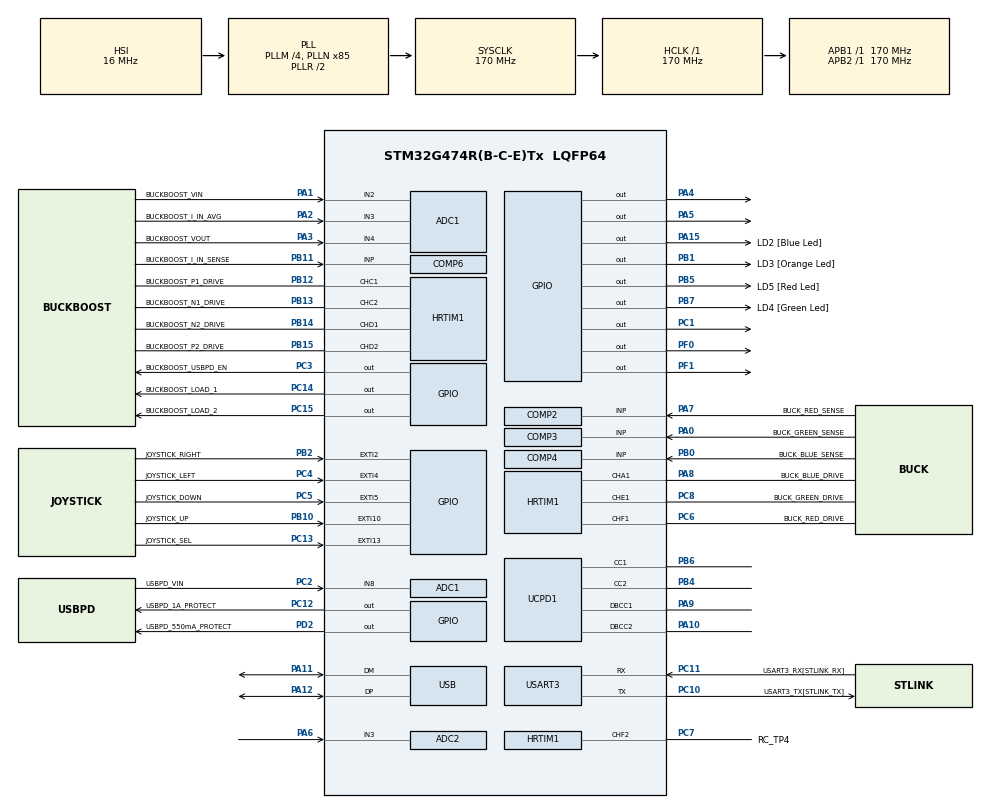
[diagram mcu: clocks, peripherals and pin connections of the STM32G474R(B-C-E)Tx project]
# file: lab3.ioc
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ADC1.Channel-0\#ChannelRegularConversion=ADC_CHANNEL_8
ADC1.NbrOfConversionFlag=1
ADC1.OffsetNumber-0\#ChannelRegularConversion=ADC_OFFSET_NONE
ADC1.Rank-0\#ChannelRegularConversion=1
ADC1.SamplingTime-0\#ChannelRegularConversion=ADC_SAMPLETIME_2CYCLES_5
ADC1.master=1
ADC2.Channel-0\#ChannelRegularConversion=ADC_CHANNEL_3
ADC2.NbrOfConversionFlag=1
ADC2.OffsetNumber-0\#ChannelRegularConversion=ADC_OFFSET_NONE
ADC2.Rank-0\#ChannelRegularConversion=1
ADC2.SamplingTime-0\#ChannelRegularConversion=ADC_SAMPLETIME_2CYCLES_5
DAC3.DAC_Channel-DAC_OUT2_Int=DAC_CHANNEL_2
Mcu.Family=STM32G4
Mcu.Name=STM32G474R(B-C-E)Tx
Mcu.Package=LQFP64
NVIC.ADC1_2_IRQn=true\:0\:0\:false\:false\:true\:true\:true\:true
NVIC.EXTI15_10_IRQn=true\:0\:0\:false\:false\:true\:true\:true\:true
NVIC.EXTI2_IRQn=true\:0\:0\:false\:false\:true\:true\:true\:true
NVIC.EXTI4_IRQn=true\:0\:0\:false\:false\:true\:true\:true\:true
NVIC.EXTI9_5_IRQn=true\:0\:0\:false\:false\:true\:true\:true\:true
NVIC.HRTIM1_Master_IRQn=true\:0\:0\:false\:false\:true\:true\:true\:true
NVIC.HRTIM1_TIMF_IRQn=true\:0\:0\:false\:false\:true\:true\:true\:true
NVIC.PriorityGroup=NVIC_PRIORITYGROUP_4
NVIC.USART3_IRQn=true\:0\:0\:false\:false\:true\:true\:true\:true
NVIC.USB_HP_IRQn=true\:0\:0\:false\:false\:true\:true\:true\:true
PA0.GPIO_Label=BUCK_GREEN_SENSE
PA0.Mode=INP
PA0.Signal=COMP3_INP
PA1.GPIO_Label=BUCKBOOST_VIN
PA1.Mode=IN2-Single-Ended
PA1.Signal=ADC1_IN2
PA10.Mode=EnableDeadBattery
PA10.Signal=UCPD1_DBCC2
PA11.Mode=Device
PA11.Signal=USB_DM
PA12.Mode=Device
PA12.Signal=USB_DP
PA13.Mode=Serial_Wire
PA13.Signal=SYS_JTMS-SWDIO
PA14.Mode=Serial_Wire
PA14.Signal=SYS_JTCK-SWCLK
PA15.GPIO_Label=LD2 [Blue Led]
PA15.Signal=GPIO_Output
PA2.GPIO_Label=BUCKBOOST_I_IN_AVG
PA2.Mode=IN3-Single-Ended
PA2.Signal=ADC1_IN3
PA3.GPIO_Label=BUCKBOOST_VOUT
PA3.Mode=IN4-Single-Ended
PA3.Signal=ADC1_IN4
PA4.Signal=GPIO_Output
PA5.Signal=GPIO_Output
PA6.Mode=IN3-Single-Ended
PA6.Signal=ADC2_IN3
PA7.GPIO_Label=BUCK_RED_SENSE
PA7.Mode=INP
PA7.Signal=COMP2_INP
PA8.GPIO_Label=BUCK_BLUE_DRIVE
PA8.Mode=Output_TA1
PA8.Signal=HRTIM1_CHA1
PA9.Mode=EnableDeadBattery
PA9.Signal=UCPD1_DBCC1
PB0.GPIO_Label=BUCK_BLUE_SENSE
PB0.Mode=INP
PB0.Signal=COMP4_INP
PB1.GPIO_Label=LD3 [Orange Led]
PB1.Signal=GPIO_Output
PB10.GPIO_Label=JOYSTICK_UP
PB10.GPIO_PuPd=GPIO_PULLUP
PB10.Signal=GPXTI10
PB11.GPIO_Label=BUCKBOOST_I_IN_SENSE
PB11.Mode=INP
PB11.Signal=COMP6_INP
PB12.GPIO_Label=BUCKBOOST_P1_DRIVE
PB12.Mode=Output_TC1TC2
PB12.Signal=HRTIM1_CHC1
PB13.GPIO_Label=BUCKBOOST_N1_DRIVE
PB13.Mode=Output_TC1TC2
PB13.Signal=HRTIM1_CHC2
PB14.GPIO_Label=BUCKBOOST_N2_DRIVE
PB14.Mode=Output_TD1TD2
PB14.Signal=HRTIM1_CHD1
PB15.GPIO_Label=BUCKBOOST_P2_DRIVE
PB15.Mode=Output_TD1TD2
PB15.Signal=HRTIM1_CHD2
PB2.GPIO_Label=JOYSTICK_RIGHT
PB2.GPIO_PuPd=GPIO_PULLUP
PB2.Signal=GPXTI2
PB3.Signal=SYS_JTDO-SWO
PB4.Mode=Sink_AllSignals
PB4.Signal=UCPD1_CC2
PB5.GPIO_Label=LD5 [Red Led]
PB5.Signal=GPIO_Output
PB6.Mode=Sink_AllSignals
PB6.Signal=UCPD1_CC1
PB7.GPIO_Label=LD4 [Green Led]
PB7.Signal=GPIO_Output
PC1.Signal=GPIO_Output
PC10.GPIO_Label=USART3_TX[STLINK_TX]
PC10.GPIO_Speed=GPIO_SPEED_FREQ_MEDIUM
PC10.Mode=Asynchronous
PC10.Signal=USART3_TX
PC11.GPIO_Label=USART3_RX[STLINK_RX]
PC11.GPIO_Speed=GPIO_SPEED_FREQ_MEDIUM
PC11.Mode=Asynchronous
PC11.Signal=USART3_RX
PC12.GPIO_Label=USBPD_1A_PROTECT
PC12.Signal=GPIO_Output
PC13.GPIO_Label=JOYSTICK_SEL
PC13.GPIO_PuPd=GPIO_PULLUP
PC13.Signal=GPXTI13
PC14-OSC32_IN.GPIO_Label=BUCKBOOST_LOAD_1
PC14-OSC32_IN.Signal=GPIO_Output
PC15-OSC32_OUT.GPIO_Label=BUCKBOOST_LOAD_2
PC15-OSC32_OUT.Signal=GPIO_Output
PC2.GPIO_Label=USBPD_VIN
PC2.Mode=IN8-Single-Ended
PC2.Signal=ADC1_IN8
PC3.GPIO_Label=BUCKBOOST_USBPD_EN
PC3.Signal=GPIO_Output
PC4.GPIO_Label=JOYSTICK_LEFT
PC4.GPIO_PuPd=GPIO_PULLUP
PC4.Signal=GPXTI4
PC5.GPIO_Label=JOYSTICK_DOWN
PC5.GPIO_PuPd=GPIO_PULLUP
PC5.Signal=GPXTI5
PC6.GPIO_Label=BUCK_RED_DRIVE
PC6.Mode=Output_TF1TF2
PC6.Signal=HRTIM1_CHF1
PC7.GPIO_Label=RC_TP4
PC7.Mode=Output_TF1TF2
PC7.Signal=HRTIM1_CHF2
PC8.GPIO_Label=BUCK_GREEN_DRIVE
PC8.Mode=Output_TE1
PC8.Signal=HRTIM1_CHE1
PD2.GPIO_Label=USBPD_550mA_PROTECT
PD2.Signal=GPIO_Output
PF0-OSC_IN.Signal=GPIO_Output
PF1-OSC_OUT.Signal=GPIO_Output
ProjectManager.HeapSize=0x200
ProjectManager.StackSize=0x400
ProjectManager.TargetToolchain=STM32CubeIDE
RCC.ADC12Freq_Value=170000000
RCC.ADC345Freq_Value=170000000
RCC.AHBFreq_Value=170000000
RCC.APB1Freq_Value=170000000
RCC.APB1TimFreq_Value=170000000
RCC.APB2Freq_Value=170000000
RCC.APB2TimFreq_Value=170000000
RCC.CK48CLockSelection=RCC_USBCLKSOURCE_HSI48
RCC.CortexFreq_Value=170000000
RCC.EXTERNAL_CLOCK_VALUE=12288000
RCC.HCLKFreq_Value=170000000
RCC.HSE_VALUE=8000000
RCC.HSI48_VALUE=48000000
RCC.HSI_VALUE=16000000
RCC.LSE_VALUE=32768
RCC.PLLM=RCC_PLLM_DIV4
RCC.PLLN=85
RCC.PLLP=RCC_PLLP_DIV8
RCC.PLLQ=RCC_PLLQ_DIV8
RCC.SYSCLKFreq_VALUE=170000000
RCC.SYSCLKSource=RCC_SYSCLKSOURCE_PLLCLK
RCC.USBFreq_Value=48000000
RCC.VCOOutputFreq_Value=340000000
USART3.ClockPrescaler=PRESCALER_DIV4
USART3.VirtualMode-Asynchronous=VM_ASYNC
USART3.WordLength=WORDLENGTH_8B
VP_COMP2_VS_DAC3OUT2.Mode=INM_DAC3OUT2
VP_COMP3_VS_DAC3OUT1.Mode=INM_DAC3OUT1
VP_COMP4_VS_DAC1OUT1.Mode=INM_DAC1OUT1
VP_COMP6_VS_DAC2OUT1.Mode=INM_DAC2OUT1
VP_DAC1_VS_DACI1.Mode=DAC_OUT1_Int
VP_DAC2_VS_DACI1.Mode=DAC_OUT1_Int
VP_DAC3_VS_DACI1.Mode=DAC_OUT1_Int
VP_DAC3_VS_DACI2.Mode=DAC_OUT2_Int
VP_SYS_VS_DBSignals.Mode=DisableDeadBatterySignals
board=B-G474E-DPOW1

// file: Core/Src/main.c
/* USER CODE BEGIN Header */
/**
  ******************************************************************************
  * @file           : main.c
  * @brief          : Main program body
  ******************************************************************************
  * @attention
  *
  * Copyright (c) 2025 STMicroelectronics.
  * All rights reserved.
  *
  * This software is licensed under terms that can be found in the LICENSE file
  * in the root directory of this software component.
  * If no LICENSE file comes with this software, it is provided AS-IS.
  *
  ******************************************************************************
  */
/* USER CODE END Header */
#include "main.h"

/* USER CODE BEGIN PTD */
	char MoveRight=0;
	char MoveLeft=0;
/* USER CODE END PTD */

ADC_HandleTypeDef hadc1;
ADC_HandleTypeDef hadc2;

COMP_HandleTypeDef hcomp2;
COMP_HandleTypeDef hcomp3;
COMP_HandleTypeDef hcomp4;
COMP_HandleTypeDef hcomp6;

DAC_HandleTypeDef hdac1;
DAC_HandleTypeDef hdac2;
DAC_HandleTypeDef hdac3;

HRTIM_HandleTypeDef hhrtim1;

UART_HandleTypeDef huart3;

PCD_HandleTypeDef hpcd_USB_FS;

/* USER CODE BEGIN PV */
int SetPoint=2500;
int dh=50;
/* USER CODE END PV */

void SystemClock_Config(void);
static void MX_GPIO_Init(void);
static void MX_ADC1_Init(void);
static void MX_COMP2_Init(void);
static void MX_COMP3_Init(void);
static void MX_COMP4_Init(void);
static void MX_COMP6_Init(void);
static void MX_DAC1_Init(void);
static void MX_DAC2_Init(void);
static void MX_DAC3_Init(void);
static void MX_HRTIM1_Init(void);
static void MX_UCPD1_Init(void);
static void MX_USART3_UART_Init(void);
static void MX_USB_PCD_Init(void);
static void MX_ADC2_Init(void);

int main(void)
{

  /* USER CODE BEGIN 1 */
	long int count=0;
  /* USER CODE END 1 */

  /* MCU Configuration--------------------------------------------------------*/

  /* Reset of all peripherals, Initializes the Flash interface and the Systick. */
  HAL_Init();

  /* Configure the system clock */
  SystemClock_Config();

  /* Initialize all configured peripherals */
  MX_GPIO_Init();
  MX_ADC1_Init();
  MX_COMP2_Init();
  MX_COMP3_Init();
  MX_COMP4_Init();
  MX_COMP6_Init();
  MX_DAC1_Init();
  MX_DAC2_Init();
  MX_DAC3_Init();
  MX_HRTIM1_Init();
  MX_UCPD1_Init();
  MX_USART3_UART_Init();
  MX_USB_PCD_Init();
  MX_ADC2_Init();

  /* Infinite loop */
  /* USER CODE BEGIN WHILE */
   CenterGlass();
  while (1)
  {
	  char L=HAL_GPIO_ReadPin(GPIOC, GPIO_PIN_4);
	  char R=HAL_GPIO_ReadPin(GPIOB, GPIO_PIN_2);
	  char U=HAL_GPIO_ReadPin(GPIOB, GPIO_PIN_10);
	  char D=HAL_GPIO_ReadPin(GPIOC,GPIO_PIN_5);

	  	 	  if( L == 0 && U == 1 && D == 1)
	  	 	  {

	  	 		  HAL_GPIO_WritePin(GPIOA,  GPIO_PIN_4,1);
	  	 		HAL_GPIO_WritePin(GPIOA,  GPIO_PIN_5,0);

	  	 	  }
	  	 	  else if (R == 0  && U == 1 && D == 1)
	  	 	  {
	  	 		 HAL_GPIO_WritePin(GPIOA,  GPIO_PIN_4,0);
	  	 		HAL_GPIO_WritePin(GPIOA,  GPIO_PIN_5,1);

	  	 	  }
	  	 	  else if( U == 0 && L == 1 && R == 1)
	  	  	 	  {

	  	  	 		  HAL_GPIO_WritePin(GPIOF,  GPIO_PIN_0,1);
	  	  	 		HAL_GPIO_WritePin(GPIOF,  GPIO_PIN_1,0);

	  	  	 	  }
	  	  	 	  else if (D == 0 && L == 1 && R == 1)
	  	  	 	  {
	  	  	 		 HAL_GPIO_WritePin(GPIOF,  GPIO_PIN_0,0);
	  	  	 		HAL_GPIO_WritePin(GPIOF,  GPIO_PIN_1,1);

	  	  	 	  }
	  	  	 	  else
	  	  	 	  {
	  	  	 		HAL_GPIO_WritePin(GPIOF,  GPIO_PIN_0,0);
	  	  	 		HAL_GPIO_WritePin(GPIOF,  GPIO_PIN_1,0);
	  	  	 		HAL_GPIO_WritePin(GPIOA,  GPIO_PIN_4,0);
	  	  	 		HAL_GPIO_WritePin(GPIOA,  GPIO_PIN_5,0);
	  	  	 	  }

	  	 	char state=HAL_GPIO_ReadPin(GPIOC,  GPIO_PIN_1);
	  	 		  if(state == 1)
	  	 		  {
	  	 			  count++;
	  	 			  HAL_GPIO_WritePin(GPIOC,  GPIO_PIN_1,1);
	  	 			  HAL_Delay(50);

	  	 			  HAL_GPIO_WritePin(GPIOC,  GPIO_PIN_1,0);
	  	 			  HAL_Delay(50);
	  	 			  HAL_GPIO_WritePin(GPIOC,  GPIO_PIN_1,1);
	  	 			  HAL_Delay(50);
	  	 			  HAL_GPIO_WritePin(GPIOC,  GPIO_PIN_1,0);
	  	 			  HAL_Delay(50);
	  	 			  HAL_GPIO_WritePin(GPIOC,  GPIO_PIN_1,1);
	  	 			  HAL_Delay(50);
	  	 			  HAL_GPIO_WritePin(GPIOC,  GPIO_PIN_1,0);
	  	 			  HAL_Delay(50);
	  	 		  }
	  	 		  else
	  	 		  {

	  	 			  if(count>5)
	  	 			  {
	  	 			  HAL_GPIO_TogglePin(GPIOC,  GPIO_PIN_1);
	  	 			HAL_Delay(500);

	  	 			  }
	  	 			  else
	  	 			  {
	  	 				  HAL_GPIO_WritePin(GPIOC,  GPIO_PIN_1,0);
	  	 				  count=0;
	  	 			  }
	  	 		  }

    /* USER CODE END WHILE */

  }
}

void SystemClock_Config(void)
{
  RCC_OscInitTypeDef RCC_OscInitStruct = {0};
  RCC_ClkInitTypeDef RCC_ClkInitStruct = {0};

  /** Configure the main internal regulator output voltage
  */
  HAL_PWREx_ControlVoltageScaling(PWR_REGULATOR_VOLTAGE_SCALE1_BOOST);

  /** Initializes the RCC Oscillators according to the specified parameters
  * in the RCC_OscInitTypeDef structure.
  */
  RCC_OscInitStruct.OscillatorType = RCC_OSCILLATORTYPE_HSI|RCC_OSCILLATORTYPE_HSI48;
  RCC_OscInitStruct.HSIState = RCC_HSI_ON;
  RCC_OscInitStruct.HSICalibrationValue = RCC_HSICALIBRATION_DEFAULT;
  RCC_OscInitStruct.HSI48State = RCC_HSI48_ON;
  RCC_OscInitStruct.PLL.PLLState = RCC_PLL_ON;
  RCC_OscInitStruct.PLL.PLLSource = RCC_PLLSOURCE_HSI;
  RCC_OscInitStruct.PLL.PLLM = RCC_PLLM_DIV4;
  RCC_OscInitStruct.PLL.PLLN = 85;
  RCC_OscInitStruct.PLL.PLLP = RCC_PLLP_DIV8;
  RCC_OscInitStruct.PLL.PLLQ = RCC_PLLQ_DIV8;
  RCC_OscInitStruct.PLL.PLLR = RCC_PLLR_DIV2;
  if (HAL_RCC_OscConfig(&RCC_OscInitStruct) != HAL_OK)
  {
    Error_Handler();
  }

  /** Initializes the CPU, AHB and APB buses clocks
  */
  RCC_ClkInitStruct.ClockType = RCC_CLOCKTYPE_HCLK|RCC_CLOCKTYPE_SYSCLK
                              |RCC_CLOCKTYPE_PCLK1|RCC_CLOCKTYPE_PCLK2;
  RCC_ClkInitStruct.SYSCLKSource = RCC_SYSCLKSOURCE_PLLCLK;
  RCC_ClkInitStruct.AHBCLKDivider = RCC_SYSCLK_DIV1;
  RCC_ClkInitStruct.APB1CLKDivider = RCC_HCLK_DIV1;
  RCC_ClkInitStruct.APB2CLKDivider = RCC_HCLK_DIV1;

  if (HAL_RCC_ClockConfig(&RCC_ClkInitStruct, FLASH_LATENCY_4) != HAL_OK)
  {
    Error_Handler();
  }
}

static void MX_ADC1_Init(void)
{

  ADC_MultiModeTypeDef multimode = {0};
  ADC_ChannelConfTypeDef sConfig = {0};

  /** Common config
  */
  hadc1.Instance = ADC1;
  hadc1.Init.ClockPrescaler = ADC_CLOCK_SYNC_PCLK_DIV4;
  hadc1.Init.Resolution = ADC_RESOLUTION_12B;
  hadc1.Init.DataAlign = ADC_DATAALIGN_RIGHT;
  hadc1.Init.GainCompensation = 0;
  hadc1.Init.ScanConvMode = ADC_SCAN_DISABLE;
  hadc1.Init.EOCSelection = ADC_EOC_SINGLE_CONV;
  hadc1.Init.LowPowerAutoWait = DISABLE;
  hadc1.Init.ContinuousConvMode = DISABLE;
  hadc1.Init.NbrOfConversion = 1;
  hadc1.Init.DiscontinuousConvMode = DISABLE;
  hadc1.Init.ExternalTrigConv = ADC_SOFTWARE_START;
  hadc1.Init.ExternalTrigConvEdge = ADC_EXTERNALTRIGCONVEDGE_NONE;
  hadc1.Init.DMAContinuousRequests = DISABLE;
  hadc1.Init.Overrun = ADC_OVR_DATA_PRESERVED;
  hadc1.Init.OversamplingMode = DISABLE;
  if (HAL_ADC_Init(&hadc1) != HAL_OK)
  {
    Error_Handler();
  }

  /** Configure the ADC multi-mode
  */
  multimode.Mode = ADC_MODE_INDEPENDENT;
  if (HAL_ADCEx_MultiModeConfigChannel(&hadc1, &multimode) != HAL_OK)
  {
    Error_Handler();
  }

  /** Configure Regular Channel
  */
  sConfig.Channel = ADC_CHANNEL_8;
  sConfig.Rank = ADC_REGULAR_RANK_1;
  sConfig.SamplingTime = ADC_SAMPLETIME_2CYCLES_5;
  sConfig.SingleDiff = ADC_SINGLE_ENDED;
  sConfig.OffsetNumber = ADC_OFFSET_NONE;
  sConfig.Offset = 0;
  if (HAL_ADC_ConfigChannel(&hadc1, &sConfig) != HAL_OK)
  {
    Error_Handler();
  }

}

static void MX_ADC2_Init(void)
{

  ADC_ChannelConfTypeDef sConfig = {0};

  /** Common config
  */
  hadc2.Instance = ADC2;
  hadc2.Init.ClockPrescaler = ADC_CLOCK_SYNC_PCLK_DIV4;
  hadc2.Init.Resolution = ADC_RESOLUTION_12B;
  hadc2.Init.DataAlign = ADC_DATAALIGN_RIGHT;
  hadc2.Init.GainCompensation = 0;
  hadc2.Init.ScanConvMode = ADC_SCAN_DISABLE;
  hadc2.Init.EOCSelection = ADC_EOC_SINGLE_CONV;
  hadc2.Init.LowPowerAutoWait = DISABLE;
  hadc2.Init.ContinuousConvMode = DISABLE;
  hadc2.Init.NbrOfConversion = 1;
  hadc2.Init.DiscontinuousConvMode = DISABLE;
  hadc2.Init.ExternalTrigConv = ADC_SOFTWARE_START;
  hadc2.Init.ExternalTrigConvEdge = ADC_EXTERNALTRIGCONVEDGE_NONE;
  hadc2.Init.DMAContinuousRequests = DISABLE;
  hadc2.Init.Overrun = ADC_OVR_DATA_PRESERVED;
  hadc2.Init.OversamplingMode = DISABLE;
  if (HAL_ADC_Init(&hadc2) != HAL_OK)
  {
    Error_Handler();
  }

  /** Configure Regular Channel
  */
  sConfig.Channel = ADC_CHANNEL_3;
  sConfig.Rank = ADC_REGULAR_RANK_1;
  sConfig.SamplingTime = ADC_SAMPLETIME_2CYCLES_5;
  sConfig.SingleDiff = ADC_SINGLE_ENDED;
  sConfig.OffsetNumber = ADC_OFFSET_NONE;
  sConfig.Offset = 0;
  if (HAL_ADC_ConfigChannel(&hadc2, &sConfig) != HAL_OK)
  {
    Error_Handler();
  }

}

static void MX_COMP2_Init(void)
{

  hcomp2.Instance = COMP2;
  hcomp2.Init.InputPlus = COMP_INPUT_PLUS_IO1;
  hcomp2.Init.InputMinus = COMP_INPUT_MINUS_DAC3_CH2;
  hcomp2.Init.OutputPol = COMP_OUTPUTPOL_NONINVERTED;
  hcomp2.Init.Hysteresis = COMP_HYSTERESIS_NONE;
  hcomp2.Init.BlankingSrce = COMP_BLANKINGSRC_NONE;
  hcomp2.Init.TriggerMode = COMP_TRIGGERMODE_NONE;
  if (HAL_COMP_Init(&hcomp2) != HAL_OK)
  {
    Error_Handler();
  }

}

static void MX_COMP3_Init(void)
{

  hcomp3.Instance = COMP3;
  hcomp3.Init.InputPlus = COMP_INPUT_PLUS_IO1;
  hcomp3.Init.InputMinus = COMP_INPUT_MINUS_DAC3_CH1;
  hcomp3.Init.OutputPol = COMP_OUTPUTPOL_NONINVERTED;
  hcomp3.Init.Hysteresis = COMP_HYSTERESIS_NONE;
  hcomp3.Init.BlankingSrce = COMP_BLANKINGSRC_NONE;
  hcomp3.Init.TriggerMode = COMP_TRIGGERMODE_NONE;
  if (HAL_COMP_Init(&hcomp3) != HAL_OK)
  {
    Error_Handler();
  }

}

static void MX_COMP4_Init(void)
{

  hcomp4.Instance = COMP4;
  hcomp4.Init.InputPlus = COMP_INPUT_PLUS_IO1;
  hcomp4.Init.InputMinus = COMP_INPUT_MINUS_DAC1_CH1;
  hcomp4.Init.OutputPol = COMP_OUTPUTPOL_NONINVERTED;
  hcomp4.Init.Hysteresis = COMP_HYSTERESIS_NONE;
  hcomp4.Init.BlankingSrce = COMP_BLANKINGSRC_NONE;
  hcomp4.Init.TriggerMode = COMP_TRIGGERMODE_NONE;
  if (HAL_COMP_Init(&hcomp4) != HAL_OK)
  {
    Error_Handler();
  }

}

static void MX_COMP6_Init(void)
{

  hcomp6.Instance = COMP6;
  hcomp6.Init.InputPlus = COMP_INPUT_PLUS_IO1;
  hcomp6.Init.InputMinus = COMP_INPUT_MINUS_DAC2_CH1;
  hcomp6.Init.OutputPol = COMP_OUTPUTPOL_NONINVERTED;
  hcomp6.Init.Hysteresis = COMP_HYSTERESIS_NONE;
  hcomp6.Init.BlankingSrce = COMP_BLANKINGSRC_NONE;
  hcomp6.Init.TriggerMode = COMP_TRIGGERMODE_NONE;
  if (HAL_COMP_Init(&hcomp6) != HAL_OK)
  {
    Error_Handler();
  }

}

static void MX_DAC1_Init(void)
{

  DAC_ChannelConfTypeDef sConfig = {0};

  /** DAC Initialization
  */
  hdac1.Instance = DAC1;
  if (HAL_DAC_Init(&hdac1) != HAL_OK)
  {
    Error_Handler();
  }

  /** DAC channel OUT1 config
  */
  sConfig.DAC_HighFrequency = DAC_HIGH_FREQUENCY_INTERFACE_MODE_AUTOMATIC;
  sConfig.DAC_DMADoubleDataMode = DISABLE;
  sConfig.DAC_SignedFormat = DISABLE;
  sConfig.DAC_SampleAndHold = DAC_SAMPLEANDHOLD_DISABLE;
  sConfig.DAC_Trigger = DAC_TRIGGER_NONE;
  sConfig.DAC_Trigger2 = DAC_TRIGGER_NONE;
  sConfig.DAC_OutputBuffer = DAC_OUTPUTBUFFER_DISABLE;
  sConfig.DAC_ConnectOnChipPeripheral = DAC_CHIPCONNECT_INTERNAL;
  sConfig.DAC_UserTrimming = DAC_TRIMMING_FACTORY;
  if (HAL_DAC_ConfigChannel(&hdac1, &sConfig, DAC_CHANNEL_1) != HAL_OK)
  {
    Error_Handler();
  }

}

static void MX_DAC2_Init(void)
{

  DAC_ChannelConfTypeDef sConfig = {0};

  /** DAC Initialization
  */
  hdac2.Instance = DAC2;
  if (HAL_DAC_Init(&hdac2) != HAL_OK)
  {
    Error_Handler();
  }

  /** DAC channel OUT1 config
  */
  sConfig.DAC_HighFrequency = DAC_HIGH_FREQUENCY_INTERFACE_MODE_AUTOMATIC;
  sConfig.DAC_DMADoubleDataMode = DISABLE;
  sConfig.DAC_SignedFormat = DISABLE;
  sConfig.DAC_SampleAndHold = DAC_SAMPLEANDHOLD_DISABLE;
  sConfig.DAC_Trigger = DAC_TRIGGER_NONE;
  sConfig.DAC_Trigger2 = DAC_TRIGGER_NONE;
  sConfig.DAC_OutputBuffer = DAC_OUTPUTBUFFER_DISABLE;
  sConfig.DAC_ConnectOnChipPeripheral = DAC_CHIPCONNECT_INTERNAL;
  sConfig.DAC_UserTrimming = DAC_TRIMMING_FACTORY;
  if (HAL_DAC_ConfigChannel(&hdac2, &sConfig, DAC_CHANNEL_1) != HAL_OK)
  {
    Error_Handler();
  }

}

static void MX_DAC3_Init(void)
{

  DAC_ChannelConfTypeDef sConfig = {0};

  /** DAC Initialization
  */
  hdac3.Instance = DAC3;
  if (HAL_DAC_Init(&hdac3) != HAL_OK)
  {
    Error_Handler();
  }

  /** DAC channel OUT1 config
  */
  sConfig.DAC_HighFrequency = DAC_HIGH_FREQUENCY_INTERFACE_MODE_AUTOMATIC;
  sConfig.DAC_DMADoubleDataMode = DISABLE;
  sConfig.DAC_SignedFormat = DISABLE;
  sConfig.DAC_SampleAndHold = DAC_SAMPLEANDHOLD_DISABLE;
  sConfig.DAC_Trigger = DAC_TRIGGER_NONE;
  sConfig.DAC_Trigger2 = DAC_TRIGGER_NONE;
  sConfig.DAC_OutputBuffer = DAC_OUTPUTBUFFER_DISABLE;
  sConfig.DAC_ConnectOnChipPeripheral = DAC_CHIPCONNECT_INTERNAL;
  sConfig.DAC_UserTrimming = DAC_TRIMMING_FACTORY;
  if (HAL_DAC_ConfigChannel(&hdac3, &sConfig, DAC_CHANNEL_1) != HAL_OK)
  {
    Error_Handler();
  }

  /** DAC channel OUT2 config
  */
  if (HAL_DAC_ConfigChannel(&hdac3, &sConfig, DAC_CHANNEL_2) != HAL_OK)
  {
    Error_Handler();
  }

}

static void MX_HRTIM1_Init(void)
{

  HRTIM_TimeBaseCfgTypeDef pTimeBaseCfg = {0};
  HRTIM_TimerCtlTypeDef pTimerCtl = {0};
  HRTIM_TimerCfgTypeDef pTimerCfg = {0};
  HRTIM_OutputCfgTypeDef pOutputCfg = {0};

  hhrtim1.Instance = HRTIM1;
  hhrtim1.Init.HRTIMInterruptResquests = HRTIM_IT_NONE;
  hhrtim1.Init.SyncOptions = HRTIM_SYNCOPTION_NONE;
  if (HAL_HRTIM_Init(&hhrtim1) != HAL_OK)
  {
    Error_Handler();
  }
  if (HAL_HRTIM_DLLCalibrationStart(&hhrtim1, HRTIM_CALIBRATIONRATE_3) != HAL_OK)
  {
    Error_Handler();
  }
  if (HAL_HRTIM_PollForDLLCalibration(&hhrtim1, 10) != HAL_OK)
  {
    Error_Handler();
  }
  pTimeBaseCfg.Period = 0xFFDF;
  pTimeBaseCfg.RepetitionCounter = 0x00;
  pTimeBaseCfg.PrescalerRatio = HRTIM_PRESCALERRATIO_MUL32;
  pTimeBaseCfg.Mode = HRTIM_MODE_CONTINUOUS;
  if (HAL_HRTIM_TimeBaseConfig(&hhrtim1, HRTIM_TIMERINDEX_TIMER_A, &pTimeBaseCfg) != HAL_OK)
  {
    Error_Handler();
  }
  pTimerCtl.UpDownMode = HRTIM_TIMERUPDOWNMODE_UP;
  pTimerCtl.DualChannelDacEnable = HRTIM_TIMER_DCDE_DISABLED;
  if (HAL_HRTIM_WaveformTimerControl(&hhrtim1, HRTIM_TIMERINDEX_TIMER_A, &pTimerCtl) != HAL_OK)
  {
    Error_Handler();
  }
  pTimerCfg.InterruptRequests = HRTIM_TIM_IT_NONE;
  pTimerCfg.DMARequests = HRTIM_TIM_DMA_NONE;
  pTimerCfg.DMASrcAddress = 0x0000;
  pTimerCfg.DMADstAddress = 0x0000;
  pTimerCfg.DMASize = 0x1;
  pTimerCfg.HalfModeEnable = HRTIM_HALFMODE_DISABLED;
  pTimerCfg.InterleavedMode = HRTIM_INTERLEAVED_MODE_DISABLED;
  pTimerCfg.StartOnSync = HRTIM_SYNCSTART_DISABLED;
  pTimerCfg.ResetOnSync = HRTIM_SYNCRESET_DISABLED;
  pTimerCfg.DACSynchro = HRTIM_DACSYNC_NONE;
  pTimerCfg.PreloadEnable = HRTIM_PRELOAD_DISABLED;
  pTimerCfg.UpdateGating = HRTIM_UPDATEGATING_INDEPENDENT;
  pTimerCfg.BurstMode = HRTIM_TIMERBURSTMODE_MAINTAINCLOCK;
  pTimerCfg.RepetitionUpdate = HRTIM_UPDATEONREPETITION_DISABLED;
  pTimerCfg.PushPull = HRTIM_TIMPUSHPULLMODE_DISABLED;
  pTimerCfg.FaultEnable = HRTIM_TIMFAULTENABLE_NONE;
  pTimerCfg.FaultLock = HRTIM_TIMFAULTLOCK_READWRITE;
  pTimerCfg.DeadTimeInsertion = HRTIM_TIMDEADTIMEINSERTION_DISABLED;
  pTimerCfg.DelayedProtectionMode = HRTIM_TIMER_A_B_C_DELAYEDPROTECTION_DISABLED;
  pTimerCfg.UpdateTrigger = HRTIM_TIMUPDATETRIGGER_NONE;
  pTimerCfg.ResetTrigger = HRTIM_TIMRESETTRIGGER_NONE;
  pTimerCfg.ResetUpdate = HRTIM_TIMUPDATEONRESET_DISABLED;
  pTimerCfg.ReSyncUpdate = HRTIM_TIMERESYNC_UPDATE_UNCONDITIONAL;
  if (HAL_HRTIM_WaveformTimerConfig(&hhrtim1, HRTIM_TIMERINDEX_TIMER_A, &pTimerCfg) != HAL_OK)
  {
    Error_Handler();
  }
  if (HAL_HRTIM_WaveformTimerConfig(&hhrtim1, HRTIM_TIMERINDEX_TIMER_C, &pTimerCfg) != HAL_OK)
  {
    Error_Handler();
  }
  pTimerCfg.DelayedProtectionMode = HRTIM_TIMER_D_E_DELAYEDPROTECTION_DISABLED;
  if (HAL_HRTIM_WaveformTimerConfig(&hhrtim1, HRTIM_TIMERINDEX_TIMER_D, &pTimerCfg) != HAL_OK)
  {
    Error_Handler();
  }
  if (HAL_HRTIM_WaveformTimerConfig(&hhrtim1, HRTIM_TIMERINDEX_TIMER_E, &pTimerCfg) != HAL_OK)
  {
    Error_Handler();
  }
  pTimerCfg.DelayedProtectionMode = HRTIM_TIMER_F_DELAYEDPROTECTION_DISABLED;
  if (HAL_HRTIM_WaveformTimerConfig(&hhrtim1, HRTIM_TIMERINDEX_TIMER_F, &pTimerCfg) != HAL_OK)
  {
    Error_Handler();
  }
  pOutputCfg.Polarity = HRTIM_OUTPUTPOLARITY_HIGH;
  pOutputCfg.SetSource = HRTIM_OUTPUTSET_NONE;
  pOutputCfg.ResetSource = HRTIM_OUTPUTRESET_NONE;
  pOutputCfg.IdleMode = HRTIM_OUTPUTIDLEMODE_NONE;
  pOutputCfg.IdleLevel = HRTIM_OUTPUTIDLELEVEL_INACTIVE;
  pOutputCfg.FaultLevel = HRTIM_OUTPUTFAULTLEVEL_NONE;
  pOutputCfg.ChopperModeEnable = HRTIM_OUTPUTCHOPPERMODE_DISABLED;
  pOutputCfg.BurstModeEntryDelayed = HRTIM_OUTPUTBURSTMODEENTRY_REGULAR;
  if (HAL_HRTIM_WaveformOutputConfig(&hhrtim1, HRTIM_TIMERINDEX_TIMER_A, HRTIM_OUTPUT_TA1, &pOutputCfg) != HAL_OK)
  {
    Error_Handler();
  }
  if (HAL_HRTIM_WaveformOutputConfig(&hhrtim1, HRTIM_TIMERINDEX_TIMER_C, HRTIM_OUTPUT_TC1, &pOutputCfg) != HAL_OK)
  {
    Error_Handler();
  }
  if (HAL_HRTIM_WaveformOutputConfig(&hhrtim1, HRTIM_TIMERINDEX_TIMER_D, HRTIM_OUTPUT_TD1, &pOutputCfg) != HAL_OK)
  {
    Error_Handler();
  }
  if (HAL_HRTIM_WaveformOutputConfig(&hhrtim1, HRTIM_TIMERINDEX_TIMER_E, HRTIM_OUTPUT_TE1, &pOutputCfg) != HAL_OK)
  {
    Error_Handler();
  }
  if (HAL_HRTIM_WaveformOutputConfig(&hhrtim1, HRTIM_TIMERINDEX_TIMER_F, HRTIM_OUTPUT_TF1, &pOutputCfg) != HAL_OK)
  {
    Error_Handler();
  }
  if (HAL_HRTIM_TimeBaseConfig(&hhrtim1, HRTIM_TIMERINDEX_TIMER_C, &pTimeBaseCfg) != HAL_OK)
  {
    Error_Handler();
  }
  if (HAL_HRTIM_WaveformTimerControl(&hhrtim1, HRTIM_TIMERINDEX_TIMER_C, &pTimerCtl) != HAL_OK)
  {
    Error_Handler();
  }
  if (HAL_HRTIM_WaveformOutputConfig(&hhrtim1, HRTIM_TIMERINDEX_TIMER_C, HRTIM_OUTPUT_TC2, &pOutputCfg) != HAL_OK)
  {
    Error_Handler();
  }
  if (HAL_HRTIM_WaveformOutputConfig(&hhrtim1, HRTIM_TIMERINDEX_TIMER_D, HRTIM_OUTPUT_TD2, &pOutputCfg) != HAL_OK)
  {
    Error_Handler();
  }
  if (HAL_HRTIM_WaveformOutputConfig(&hhrtim1, HRTIM_TIMERINDEX_TIMER_F, HRTIM_OUTPUT_TF2, &pOutputCfg) != HAL_OK)
  {
    Error_Handler();
  }
  if (HAL_HRTIM_TimeBaseConfig(&hhrtim1, HRTIM_TIMERINDEX_TIMER_D, &pTimeBaseCfg) != HAL_OK)
  {
    Error_Handler();
  }
  if (HAL_HRTIM_WaveformTimerControl(&hhrtim1, HRTIM_TIMERINDEX_TIMER_D, &pTimerCtl) != HAL_OK)
  {
    Error_Handler();
  }
  if (HAL_HRTIM_TimeBaseConfig(&hhrtim1, HRTIM_TIMERINDEX_TIMER_E, &pTimeBaseCfg) != HAL_OK)
  {
    Error_Handler();
  }
  if (HAL_HRTIM_WaveformTimerControl(&hhrtim1, HRTIM_TIMERINDEX_TIMER_E, &pTimerCtl) != HAL_OK)
  {
    Error_Handler();
  }
  if (HAL_HRTIM_TimeBaseConfig(&hhrtim1, HRTIM_TIMERINDEX_TIMER_F, &pTimeBaseCfg) != HAL_OK)
  {
    Error_Handler();
  }
  if (HAL_HRTIM_WaveformTimerControl(&hhrtim1, HRTIM_TIMERINDEX_TIMER_F, &pTimerCtl) != HAL_OK)
  {
    Error_Handler();
  }
  HAL_HRTIM_MspPostInit(&hhrtim1);

}

static void MX_UCPD1_Init(void)
{

  LL_GPIO_InitTypeDef GPIO_InitStruct = {0};

  /* Peripheral clock enable */
  LL_APB1_GRP2_EnableClock(LL_APB1_GRP2_PERIPH_UCPD1);

  LL_AHB2_GRP1_EnableClock(LL_AHB2_GRP1_PERIPH_GPIOB);
  /**UCPD1 GPIO Configuration
  PB4   ------> UCPD1_CC2
  PB6   ------> UCPD1_CC1
  */
  GPIO_InitStruct.Pin = LL_GPIO_PIN_4;
  GPIO_InitStruct.Mode = LL_GPIO_MODE_ANALOG;
  GPIO_InitStruct.Pull = LL_GPIO_PULL_NO;
  LL_GPIO_Init(GPIOB, &GPIO_InitStruct);

  GPIO_InitStruct.Pin = LL_GPIO_PIN_6;
  GPIO_InitStruct.Mode = LL_GPIO_MODE_ANALOG;
  GPIO_InitStruct.Pull = LL_GPIO_PULL_NO;
  LL_GPIO_Init(GPIOB, &GPIO_InitStruct);

}

static void MX_USART3_UART_Init(void)
{

  huart3.Instance = USART3;
  huart3.Init.BaudRate = 115200;
  huart3.Init.WordLength = UART_WORDLENGTH_8B;
  huart3.Init.StopBits = UART_STOPBITS_1;
  huart3.Init.Parity = UART_PARITY_NONE;
  huart3.Init.Mode = UART_MODE_TX_RX;
  huart3.Init.HwFlowCtl = UART_HWCONTROL_NONE;
  huart3.Init.OverSampling = UART_OVERSAMPLING_16;
  huart3.Init.OneBitSampling = UART_ONE_BIT_SAMPLE_DISABLE;
  huart3.Init.ClockPrescaler = UART_PRESCALER_DIV4;
  huart3.AdvancedInit.AdvFeatureInit = UART_ADVFEATURE_NO_INIT;
  if (HAL_UART_Init(&huart3) != HAL_OK)
  {
    Error_Handler();
  }
  if (HAL_UARTEx_SetTxFifoThreshold(&huart3, UART_TXFIFO_THRESHOLD_1_8) != HAL_OK)
  {
    Error_Handler();
  }
  if (HAL_UARTEx_SetRxFifoThreshold(&huart3, UART_RXFIFO_THRESHOLD_1_8) != HAL_OK)
  {
    Error_Handler();
  }
  if (HAL_UARTEx_DisableFifoMode(&huart3) != HAL_OK)
  {
    Error_Handler();
  }

}

static void MX_USB_PCD_Init(void)
{

  hpcd_USB_FS.Instance = USB;
  hpcd_USB_FS.Init.dev_endpoints = 8;
  hpcd_USB_FS.Init.speed = PCD_SPEED_FULL;
  hpcd_USB_FS.Init.phy_itface = PCD_PHY_EMBEDDED;
  hpcd_USB_FS.Init.Sof_enable = DISABLE;
  hpcd_USB_FS.Init.low_power_enable = DISABLE;
  hpcd_USB_FS.Init.lpm_enable = DISABLE;
  hpcd_USB_FS.Init.battery_charging_enable = DISABLE;
  if (HAL_PCD_Init(&hpcd_USB_FS) != HAL_OK)
  {
    Error_Handler();
  }

}

static void MX_GPIO_Init(void)
{
  GPIO_InitTypeDef GPIO_InitStruct = {0};

  /* GPIO Ports Clock Enable */
  __HAL_RCC_GPIOC_CLK_ENABLE();
  __HAL_RCC_GPIOF_CLK_ENABLE();
  __HAL_RCC_GPIOA_CLK_ENABLE();
  __HAL_RCC_GPIOB_CLK_ENABLE();
  __HAL_RCC_GPIOD_CLK_ENABLE();

  /*Configure GPIO pin Output Level */
  HAL_GPIO_WritePin(GPIOC, BUCKBOOST_LOAD_1_Pin|BUCKBOOST_LOAD_2_Pin|GPIO_PIN_1|BUCKBOOST_USBPD_EN_Pin
                          |USBPD_1A_PROTECT_Pin, GPIO_PIN_RESET);

  /*Configure GPIO pin Output Level */
  HAL_GPIO_WritePin(GPIOF, GPIO_PIN_0|GPIO_PIN_1, GPIO_PIN_RESET);

  /*Configure GPIO pin Output Level */
  HAL_GPIO_WritePin(GPIOA, GPIO_PIN_4|GPIO_PIN_5|LD2_Pin, GPIO_PIN_RESET);

  /*Configure GPIO pin Output Level */
  HAL_GPIO_WritePin(GPIOB, LD3_Pin|LD5_Pin|LD4_Pin, GPIO_PIN_RESET);

  /*Configure GPIO pin Output Level */
  HAL_GPIO_WritePin(USBPD_550mA_PROTECT_GPIO_Port, USBPD_550mA_PROTECT_Pin, GPIO_PIN_RESET);

  /*Configure GPIO pins : JOYSTICK_SEL_Pin JOYSTICK_LEFT_Pin JOYSTICK_DOWN_Pin */
  GPIO_InitStruct.Pin = JOYSTICK_SEL_Pin|JOYSTICK_LEFT_Pin|JOYSTICK_DOWN_Pin;
  GPIO_InitStruct.Mode = GPIO_MODE_IT_RISING;
  GPIO_InitStruct.Pull = GPIO_PULLUP;
  HAL_GPIO_Init(GPIOC, &GPIO_InitStruct);

  /*Configure GPIO pins : BUCKBOOST_LOAD_1_Pin BUCKBOOST_LOAD_2_Pin PC1 BUCKBOOST_USBPD_EN_Pin
                           USBPD_1A_PROTECT_Pin */
  GPIO_InitStruct.Pin = BUCKBOOST_LOAD_1_Pin|BUCKBOOST_LOAD_2_Pin|GPIO_PIN_1|BUCKBOOST_USBPD_EN_Pin
                          |USBPD_1A_PROTECT_Pin;
  GPIO_InitStruct.Mode = GPIO_MODE_OUTPUT_PP;
  GPIO_InitStruct.Pull = GPIO_NOPULL;
  GPIO_InitStruct.Speed = GPIO_SPEED_FREQ_LOW;
  HAL_GPIO_Init(GPIOC, &GPIO_InitStruct);

  /*Configure GPIO pins : PF0 PF1 */
  GPIO_InitStruct.Pin = GPIO_PIN_0|GPIO_PIN_1;
  GPIO_InitStruct.Mode = GPIO_MODE_OUTPUT_PP;
  GPIO_InitStruct.Pull = GPIO_NOPULL;
  GPIO_InitStruct.Speed = GPIO_SPEED_FREQ_LOW;
  HAL_GPIO_Init(GPIOF, &GPIO_InitStruct);

  /*Configure GPIO pins : PA4 PA5 LD2_Pin */
  GPIO_InitStruct.Pin = GPIO_PIN_4|GPIO_PIN_5|LD2_Pin;
  GPIO_InitStruct.Mode = GPIO_MODE_OUTPUT_PP;
  GPIO_InitStruct.Pull = GPIO_NOPULL;
  GPIO_InitStruct.Speed = GPIO_SPEED_FREQ_LOW;
  HAL_GPIO_Init(GPIOA, &GPIO_InitStruct);

  /*Configure GPIO pins : LD3_Pin LD5_Pin LD4_Pin */
  GPIO_InitStruct.Pin = LD3_Pin|LD5_Pin|LD4_Pin;
  GPIO_InitStruct.Mode = GPIO_MODE_OUTPUT_PP;
  GPIO_InitStruct.Pull = GPIO_NOPULL;
  GPIO_InitStruct.Speed = GPIO_SPEED_FREQ_LOW;
  HAL_GPIO_Init(GPIOB, &GPIO_InitStruct);

  /*Configure GPIO pins : JOYSTICK_RIGHT_Pin JOYSTICK_UP_Pin */
  GPIO_InitStruct.Pin = JOYSTICK_RIGHT_Pin|JOYSTICK_UP_Pin;
  GPIO_InitStruct.Mode = GPIO_MODE_IT_RISING;
  GPIO_InitStruct.Pull = GPIO_PULLUP;
  HAL_GPIO_Init(GPIOB, &GPIO_InitStruct);

  /*Configure GPIO pin : USBPD_550mA_PROTECT_Pin */
  GPIO_InitStruct.Pin = USBPD_550mA_PROTECT_Pin;
  GPIO_InitStruct.Mode = GPIO_MODE_OUTPUT_PP;
  GPIO_InitStruct.Pull = GPIO_NOPULL;
  GPIO_InitStruct.Speed = GPIO_SPEED_FREQ_LOW;
  HAL_GPIO_Init(USBPD_550mA_PROTECT_GPIO_Port, &GPIO_InitStruct);

  /* EXTI interrupt init*/
  HAL_NVIC_SetPriority(EXTI2_IRQn, 0, 0);
  HAL_NVIC_EnableIRQ(EXTI2_IRQn);

  HAL_NVIC_SetPriority(EXTI4_IRQn, 0, 0);
  HAL_NVIC_EnableIRQ(EXTI4_IRQn);

  HAL_NVIC_SetPriority(EXTI9_5_IRQn, 0, 0);
  HAL_NVIC_EnableIRQ(EXTI9_5_IRQn);

  HAL_NVIC_SetPriority(EXTI15_10_IRQn, 0, 0);
  HAL_NVIC_EnableIRQ(EXTI15_10_IRQn);

}

/* USER CODE BEGIN 4 */
void CenterGlass(void)
{
 int centering=1;
  HAL_ADC_Start(&hadc2);
  int value=0;
  while(!HAL_ADC_PollForConversion(&hadc2, 2))
  {

  }
	value= HAL_ADC_GetValue(&hadc2);
	while (centering !=0)
	{
	 if(HAL_ADC_PollForConversion(&hadc2, 2))
	     {
	    	value= HAL_ADC_GetValue(&hadc2);
		    HAL_ADC_Start(&hadc2);
	     }
	     if(MoveRight && value>SetPoint )
	     {
	    	 MoveRight=0;
	    	 MoveLeft=0;
	     }
	     else if(MoveLeft && value<SetPoint)
	     {
	    	 MoveRight=0;
	    	 MoveLeft=0;
	     }
	     else if(MoveRight==0 && MoveLeft==0)
	     {
	    	 if(value<(SetPoint-dh))
	    	  {
	    		 	 MoveLeft=0;
	    	     	MoveRight=1;
	    	     	centering=1;
	    	  }
	    	 else if(value>SetPoint+dh)
	    	{
	    		 MoveLeft=1;
	    		 MoveRight=0;
	    		 centering=1;
	    	}
	     }
		  	 	  if( MoveRight)// L == 1 || MoveLeft)
		  	 	  {

		  	 		  HAL_GPIO_WritePin(GPIOA,  GPIO_PIN_4,1);
		  	 		HAL_GPIO_WritePin(GPIOA,  GPIO_PIN_5,0);

		  	 	  }
		  	 	  else if ( MoveLeft) //R == 1 || MoveRight)
		  	 	  {
		  	 		 HAL_GPIO_WritePin(GPIOA,  GPIO_PIN_4,0);
		  	 		HAL_GPIO_WritePin(GPIOA,  GPIO_PIN_5,1);

		  	 	  }
		  	 	  else
		  	 	  {
		  	 		HAL_GPIO_WritePin(GPIOA,  GPIO_PIN_4,0);
		  	 		HAL_GPIO_WritePin(GPIOA,  GPIO_PIN_5,0);
		  	 		centering=0;

		  	 	  }
	}
}
/* USER CODE END 4 */

void Error_Handler(void)
{
  __disable_irq();
  while (1)
  {
  }
}
